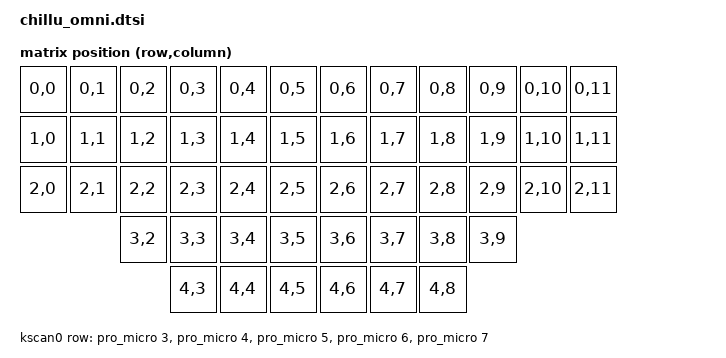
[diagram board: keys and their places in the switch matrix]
/*
 * Copyright (c) 2020 Pete Johanson
 *
 * SPDX-License-Identifier: MIT
 */

#include <dt-bindings/zmk/matrix_transform.h>

/ {
	key_physical_attrs: key_physical_attrs {
        compatible = "zmk,key-physical-attrs";

        #key-cells = <7>;
    };

    chosen {
        zmk,kscan = &kscan0;
		zmk,physical-layout = &physical_layout_0;
    };

    default_transform: keymap_transform_0 {
        compatible = "zmk,matrix-transform";
        columns = <12>;
        rows = <5>;
// | SW1  | SW2  | SW3  | SW4  | SW5  | SW6  |   | SW6  | SW5  | SW4  | SW3  | SW2  | SW1  |
// | SW7  | SW8  | SW9  | SW10 | SW11 | SW12 |   | SW12 | SW11 | SW10 | SW9  | SW8  | SW7  |
// | SW13 | SW14 | SW15 | SW16 | SW17 | SW18 |   | SW18 | SW17 | SW16 | SW15 | SW14 | SW13 |
//               | SW19 | SW20 | SW21 | SW22 |   | SW22 | SW21 | SW20 | SW19 |
//                      | SW23 | SW24 | SW25 |   | SW25 | SW24 | SW23 |
        map = <
RC(0,0) RC(0,1) RC(0,2) RC(0,3) RC(0,4) RC(0,5)  RC(0,6) RC(0,7) RC(0,8) RC(0,9) RC(0,10) RC(0,11)
RC(1,0) RC(1,1) RC(1,2) RC(1,3) RC(1,4) RC(1,5)  RC(1,6) RC(1,7) RC(1,8) RC(1,9) RC(1,10) RC(1,11)
RC(2,0) RC(2,1) RC(2,2) RC(2,3) RC(2,4) RC(2,5)  RC(2,6) RC(2,7) RC(2,8) RC(2,9) RC(2,10) RC(2,11)
                RC(3,2) RC(3,3) RC(3,4) RC(3,5)  RC(3,6) RC(3,7) RC(3,8) RC(3,9)
                        RC(4,3) RC(4,4) RC(4,5)  RC(4,6) RC(4,7) RC(4,8)
        >;
    };

    kscan0: kscan {
        compatible = "zmk,kscan-gpio-matrix";
        wakeup-source;

        diode-direction = "col2row";
        row-gpios
            = <&pro_micro 3 (GPIO_ACTIVE_HIGH | GPIO_PULL_DOWN)>
            , <&pro_micro 4 (GPIO_ACTIVE_HIGH | GPIO_PULL_DOWN)>
            , <&pro_micro 5 (GPIO_ACTIVE_HIGH | GPIO_PULL_DOWN)>
            , <&pro_micro 6 (GPIO_ACTIVE_HIGH | GPIO_PULL_DOWN)>
            , <&pro_micro 7 (GPIO_ACTIVE_HIGH | GPIO_PULL_DOWN)>
            ;

    };

    physical_layout0: physical_layout_0 {
        compatible = "zmk,physical-layout";
        display-name = "default layout";
        transform = <&default_transform>;
        kscan = <&kscan0>;

        keys  //                     w   h    x    y     rot    rx    ry
            = <&key_physical_attrs 100 100    0   12       0     0     0>
            , <&key_physical_attrs 100 100  100   12       0     0     0>
            , <&key_physical_attrs 100 100  200    0       0     0     0>
            , <&key_physical_attrs 100 100  300    0       0     0     0>
            , <&key_physical_attrs 100 100  400   12       0     0     0>
            , <&key_physical_attrs 100 100  500   12       0     0     0>
            , <&key_physical_attrs 100 100 1000   12       0     0     0>
            , <&key_physical_attrs 100 100 1100   12       0     0     0>
            , <&key_physical_attrs 100 100 1200    0       0     0     0>
            , <&key_physical_attrs 100 100 1300    0       0     0     0>
            , <&key_physical_attrs 100 100 1400   12       0     0     0>
            , <&key_physical_attrs 100 100 1500   12       0     0     0>
            , <&key_physical_attrs 100 100    0  112       0     0     0>
            , <&key_physical_attrs 100 100  100  112       0     0     0>
            , <&key_physical_attrs 100 100  200  100       0     0     0>
            , <&key_physical_attrs 100 100  300  100       0     0     0>
            , <&key_physical_attrs 100 100  400  112       0     0     0>
            , <&key_physical_attrs 100 100  500  112       0     0     0>
            , <&key_physical_attrs 100 100 1000  112       0     0     0>
            , <&key_physical_attrs 100 100 1100  112       0     0     0>
            , <&key_physical_attrs 100 100 1200  100       0     0     0>
            , <&key_physical_attrs 100 100 1300  100       0     0     0>
            , <&key_physical_attrs 100 100 1400  112       0     0     0>
            , <&key_physical_attrs 100 100 1500  112       0     0     0>
            , <&key_physical_attrs 100 100    0  212       0     0     0>
            , <&key_physical_attrs 100 100  100  212       0     0     0>
            , <&key_physical_attrs 100 100  200  200       0     0     0>
            , <&key_physical_attrs 100 100  300  200       0     0     0>
            , <&key_physical_attrs 100 100  400  212       0     0     0>
            , <&key_physical_attrs 100 100  500  212       0     0     0>
            , <&key_physical_attrs 100 100 1000  212       0     0     0>
            , <&key_physical_attrs 100 100 1100  212       0     0     0>
            , <&key_physical_attrs 100 100 1200  200       0     0     0>
            , <&key_physical_attrs 100 100 1300  200       0     0     0>
            , <&key_physical_attrs 100 100 1400  212       0     0     0>
            , <&key_physical_attrs 100 100 1500  212       0     0     0>
            , <&key_physical_attrs 100 100    0  312       0     0     0>
            , <&key_physical_attrs 100 100  100  312       0     0     0>
            , <&key_physical_attrs 100 100  200  300       0     0     0>
            , <&key_physical_attrs 100 100  300  300       0     0     0>
            , <&key_physical_attrs 100 100  328  362    1500   398   790>
            , <&key_physical_attrs 100 100  348  362    3000   398   790>
            , <&key_physical_attrs 100 100  310  500    1500   398   790>
            , <&key_physical_attrs 100 100 1190  500 (-1500)  1202   790>
            , <&key_physical_attrs 100 100 1152  362 (-3000)  1202   790>
            , <&key_physical_attrs 100 100 1172  362 (-1500)  1202   790>
            , <&key_physical_attrs 100 100 1200  300       0     0     0>
            , <&key_physical_attrs 100 100 1300  300       0     0     0>
            , <&key_physical_attrs 100 100 1400  312       0     0     0>
            , <&key_physical_attrs 100 100 1500  312       0     0     0>
            , <&key_physical_attrs 100 100  370  500    3000   398   790>
            , <&key_physical_attrs 100 100  470  490    3500   398   790>
            , <&key_physical_attrs 100 100 1030  490 (-3500)  1202   790>
            , <&key_physical_attrs 100 100 1130  500 (-3000)  1202   790>
            ;
    };

    // TODO: per-key RGB node(s)?
};

// &pro_micro_i2c {
//     status = "okay";
//
//     oled: ssd1306@3c {
//         compatible = "solomon,ssd1306fb";
//         reg = <0x3c>;
//         width = <128>;
//         height = <32>;
//         segment-offset = <0>;
//         page-offset = <0>;
//         display-offset = <0>;
//         multiplex-ratio = <31>;
//         segment-remap;
//         com-invdir;
//         com-sequential;
//         inversion-on;
//         prechargep = <0x22>;
//     };
// };
